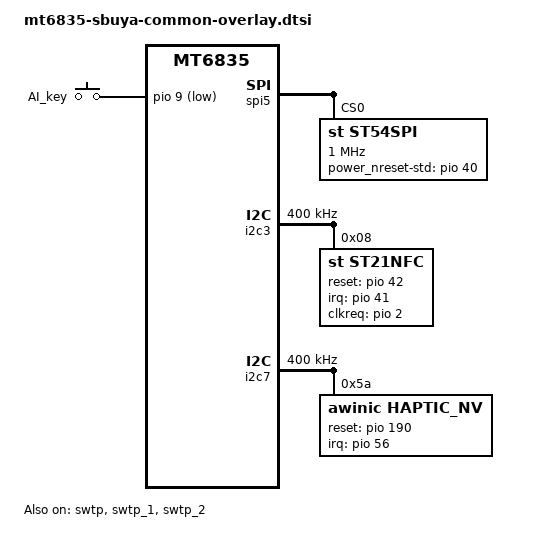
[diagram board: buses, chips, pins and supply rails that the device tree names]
/* Copyright (c) 2023, Motorola Mobility Inc. All rights reserved.
 *
 * This program is free software; you can redistribute it and/or modify
 * it under the terms of the GNU General Public License version 2 and
 * only version 2 as published by the Free Software Foundation.
 *
 * This program is distributed in the hope that it will be useful,
 * but WITHOUT ANY WARRANTY; without even the implied warranty of
 * MERCHANTABILITY or FITNESS FOR A PARTICULAR PURPOSE.  See the
 * GNU General Public License for more details.
 */

#include "mediatek/mt6835-moto-common-overlay.dtsi"
#include "mediatek/sbuya-display.dtsi"
#include "mediatek/sbuya-touch.dtsi"
#include "mediatek/sbuya-fps.dtsi"
#include "mediatek/mt6835-moto-memory.dtsi"
#include "mediatek/sbuya-sensor.dtsi"
#include "mediatek/kansas-msdc.dtsi"
#include "mediatek/sbuya-audio.dtsi"
#include "mediatek/sbuya-fmr.dtsi"
#include "mediatek/sbuya-ntc.dtsi"
//#include "mediatek/mt6835_kansas_camera_overlay.dtsi"
/ {

irq_nfc: irq_nfc {
                compatible = "mediatek,irq_nfc-eint";
};

switch_chg_eint: switch_chg_eint {
	};
tcpc_pd: tcpc_pd {
	};
eint_cp: eint_cp {
	};
};

/* KEY GPIO standardization start */
&pio{
	aikey_gpio_default:key-default {
		ai_key_int {
			pinmux = <PINMUX_GPIO9__FUNC_GPIO9>;
			input-enable;
			bias-pull-up;
		};
	};
};
/* KEY GPIO standardization end */
&gpio_keys {
	status = "okay";
	pinctrl-names = "default";
	pinctrl-0 = <&aikey_gpio_default>;
	aikey {
		label = "AI_key";
		linux,code = <583>;
		linux,input-type = <1>;
		gpios = <&pio 9 1>;
		wakeup-source;
		debounce-interval = <30>;
	};
};

&mt6377keys {
	home {
		linux,keycodes = <114>;
	};
};

&pio {
	nfc_spi_cs_mode_spi: nfc_spi_cs_mode_spi {
		pins_cmd_dat {
			pinmux = <PINMUX_GPIO37__FUNC_SPI5_CSB>;
			bias-disable;
		};
	};

	nfc_spi_cs_mode_idle: nfc_spi_cs_mode_idle {
		pins_cmd_dat {
			pinmux = <PINMUX_GPIO37__FUNC_GPIO37>;
			bias-disable;
		};
	};
};

&spi5 {
	st54spi: st54spi@0 {
		compatible = "st,st54spi";
		reg = <0>;
		spi-max-frequency = <1000000>;
		gpio-power_nreset = <40>;
		gpio-power_nreset-std = <&pio 40 0x00>;
		power_mode = "ST54J";
		bootmode = <&chosen>;
		pinctrl-names = "pinctrl_state_mode_spi",
				"pinctrl_state_mode_idle";
		pinctrl-0 = <&nfc_spi_cs_mode_spi>;
		pinctrl-1 = <&nfc_spi_cs_mode_idle>;
		status = "okay";
	};
};

&i2c3 {
	status = "okay";
	clock-frequency = <400000>;
	st21nfc: st21nfc@0x08 {
		compatible = "st,st21nfc";
		reg = <0x08>;
		interrupt-parent = <&pio>;
		interrupts = <41 IRQ_TYPE_LEVEL_HIGH>;
		bootmode = <&chosen>;
		reset-gpios = <&pio 42 0x00>;
		irq-gpios = <&pio 41 0x00>;
		clkreq-gpios = <&pio 2 0x00>;
		status = "okay";
	};
};

&u2port0 {
	mediatek,eye-vrt = <7>;
	mediatek,eye-term = <6>;
	mediatek,eye-vrt-host = <6>;
};

&swtp {
	interrupt-parent = <&pio>;
	interrupts = <6 IRQ_TYPE_LEVEL_HIGH 6 0>;
	deb-gpios = <&pio 6 0>;
	debounce = <512>;
	status = "okay";
};

&swtp_1 {
	interrupt-parent = <&pio>;
	interrupts = <11 IRQ_TYPE_LEVEL_HIGH 11 0>;
	deb-gpios = <&pio 11 0>;
	debounce = <512>;
	status = "okay";
};
&swtp_2 {
	interrupt-parent = <&pio>;
	interrupts = <19 IRQ_TYPE_LEVEL_HIGH 19 0>;
	deb-gpios = <&pio 19 0>;
	debounce = <512>;
	status = "okay";
};

/delete-node/ &mt6377_vtp;

&therm_intf {
 	/*Vsensor name should be CASE DIFFERENT with the name in config file*/
 	mmi,temperature-names = "BACK_TEMP", "FRONT_TEMP", "SAFETY_TEMP";/*for "back_temp" in config file*/
};

&i2c7 {
	clock-frequency = <400000>;
	status = "okay";
	haptic_nv@5A{
		compatible = "awinic,haptic_nv";
		reg = < 0x5A >;
		aw862xx_i2c_addr = < 0x58 >;
		/* aw8624x_no_reset; */
		reset-gpio = <&pio 190 0>;
		irq-gpio = <&pio 56 0>;
		aw8623x_gain_bypass = < 1 >;
		aw8623x_vib_lk_f0_cali = < 0 >;
		aw8623x_vib_mode = < 2 >; /* mode: RAM -> 2; CONT -> 3 */
		aw8623x_vib_f0_pre = < 2050 >;
		aw8623x_vib_f0_cali_percen = < 7 >;
		aw8623x_vib_cont_drv1_lvl = < 0x7F >;
		aw8623x_vib_lra_vrms = < 1800 >; /* Motor rated voltage, mV */
		aw8623x_vib_cont_brk_time = < 0x06 >;
		aw8623x_vib_cont_brk_gain = < 0x08 >;
		aw8623x_vib_cont_drv1_time = < 0x04 >;
		aw8623x_vib_cont_drv2_time = < 0x14 >;
		aw8623x_vib_cont_track_margin = < 0x0F >;
		aw8623x_vib_d2s_gain = < 0x05 >;
		aw8623x_vib_trig_config = < 0 0 0 1 0 2 0
					    0 0 0 1 0 2 0
					    0 0 0 1 0 2 0 >;
		aw8623x_vib_duration_time = < 34 67 100 >;
		aw8623x_vib_is_enabled_track_en;
		/* aw8623x_vib_is_enabled_auto_brk; */
		status = "okay";
	};
};

&regulator_vibrator {
	status = "disabled";
};
